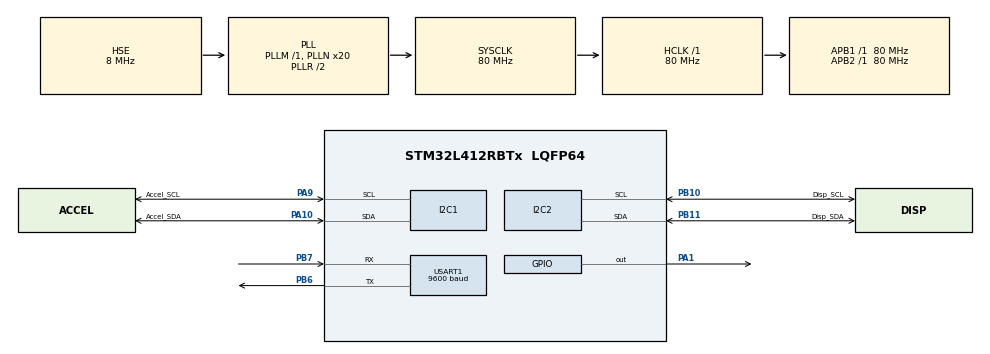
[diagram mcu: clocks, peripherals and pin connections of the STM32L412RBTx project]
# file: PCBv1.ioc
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I2C1.Timing=0x10909CEC
I2C2.Timing=0x10909CEC
Mcu.Family=STM32L4
Mcu.Name=STM32L412RBTx
Mcu.Package=LQFP64
NVIC.PriorityGroup=NVIC_PRIORITYGROUP_4
NVIC.USART1_IRQn=true\:0\:0\:false\:false\:true\:true\:true\:true
PA1.Signal=GPIO_Output
PA10.GPIO_Label=Accel_SDA
PA10.Mode=I2C
PA10.Signal=I2C1_SDA
PA9.GPIO_Label=Accel_SCL
PA9.Mode=I2C
PA9.Signal=I2C1_SCL
PB10.GPIO_Label=Disp_SCL
PB10.Mode=I2C
PB10.Signal=I2C2_SCL
PB11.GPIO_Label=Disp_SDA
PB11.Mode=I2C
PB11.Signal=I2C2_SDA
PB6.Mode=Asynchronous
PB6.Signal=USART1_TX
PB7.Mode=Asynchronous
PB7.Signal=USART1_RX
PH0-OSC_IN\ (PH0).Mode=HSE-External-Oscillator
PH0-OSC_IN\ (PH0).Signal=RCC_OSC_IN
PH1-OSC_OUT\ (PH1).Mode=HSE-External-Oscillator
PH1-OSC_OUT\ (PH1).Signal=RCC_OSC_OUT
ProjectManager.HeapSize=0x200
ProjectManager.StackSize=0x400
ProjectManager.TargetToolchain=STM32CubeIDE
RCC.ADCFreq_Value=80000000
RCC.AHBFreq_Value=80000000
RCC.APB1Freq_Value=80000000
RCC.APB1TimFreq_Value=80000000
RCC.APB2Freq_Value=80000000
RCC.APB2TimFreq_Value=80000000
RCC.CortexFreq_Value=80000000
RCC.HCLKFreq_Value=80000000
RCC.HSE_VALUE=8000000
RCC.HSI48_VALUE=48000000
RCC.HSI_VALUE=16000000
RCC.LSE_VALUE=32768
RCC.MSI_VALUE=4000000
RCC.PLLN=20
RCC.PLLSourceVirtual=RCC_PLLSOURCE_HSE
RCC.SYSCLKFreq_VALUE=80000000
RCC.SYSCLKSource=RCC_SYSCLKSOURCE_PLLCLK
RCC.USBFreq_Value=4000000
RCC.VCOOutputFreq_Value=160000000
USART1.BaudRate=9600
USART1.OverrunDisableParam=ADVFEATURE_OVERRUN_DISABLE
USART1.SwapParam=ADVFEATURE_SWAP_ENABLE
USART1.VirtualMode-Asynchronous=VM_ASYNC
board=custom

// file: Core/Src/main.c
/* USER CODE BEGIN Header */
/**
  ******************************************************************************
  * @file           : main.c
  * @brief          : Main program body
  ******************************************************************************
  * @attention
  *
  * Copyright (c) 2023 STMicroelectronics.
  * All rights reserved.
  *
  * This software is licensed under terms that can be found in the LICENSE file
  * in the root directory of this software component.
  * If no LICENSE file comes with this software, it is provided AS-IS.
  *
  ******************************************************************************
  */
/* USER CODE END Header */
#include "main.h"

/* USER CODE BEGIN Includes */
#include <string.h>
#include <stdio.h>
#include <stdlib.h>
#include "stm32l4xx.h"
#include "GPS.h"
#include "I2C.h"
#include "ssd1306.h"
#include "lis3dh.h"
#include "count_steps.h"
#include "math.h"   //using this for converting the CSV data from float to int
/* USER CODE END Includes */

I2C_HandleTypeDef hi2c1;
I2C_HandleTypeDef hi2c2;

UART_HandleTypeDef huart1;

/* USER CODE BEGIN PV */
// Allocate a buffer for reading data from the sensor.
// Six bytes required to read XYZ data.
uint8_t xyz_buf[6] = { 0 };
// New instance of the lis3dh convenience object.
lis3dh_t lis3dh;

// lis3dh calls return this HAL status type.
HAL_StatusTypeDef status;
/* USER CODE END PV */

void SystemClock_Config(void);
static void MX_GPIO_Init(void);
static void MX_I2C1_Init(void);
static void MX_I2C2_Init(void);
static void MX_USART1_UART_Init(void);

/* USER CODE BEGIN 0 */
UART_HandleTypeDef huart1;
uint8_t nmea;
char nmea_buf[256];
char nmea_gga[256];
uint8_t i = 0;

double cur_lat = 0;
double cur_lon = 0;
double pre_lat = 0;
double pre_lon = 0;
double alt = 0;

void HAL_UART_RxCpltCallback(UART_HandleTypeDef *huart) {
    if (huart == &huart1) {

        nmea_buf[i++] = nmea;

        if (nmea == '\n' || i >= sizeof(nmea_buf) - 1) {
        	HAL_GPIO_TogglePin(GPIOA, GPIO_PIN_1);
        	if(nmea_buf[3]=='G' && nmea_buf[4]=='G' && nmea_buf[5] == 'A')
        	{
        		memcpy(nmea_gga, nmea_buf, 256);
        		cur_lat = get_lat(nmea_gga);
        		cur_lon = get_lon(nmea_gga);
        		alt = get_alt(nmea_gga);

        	}

            memset(nmea_buf, 0, sizeof(nmea_buf));
            i = 0;
        }

        // Start the next reception
        HAL_UART_Receive_IT(&huart1, &nmea, 1);
    }
}
/* USER CODE END 0 */

int main(void)
{

  /* MCU Configuration--------------------------------------------------------*/

  /* Reset of all peripherals, Initializes the Flash interface and the Systick. */
  HAL_Init();

  /* Configure the system clock */
  SystemClock_Config();

  /* Initialize all configured peripherals */
  MX_GPIO_Init();
  MX_I2C1_Init();
  MX_I2C2_Init();
  MX_USART1_UART_Init();
  /* USER CODE BEGIN 2 */
  char buf1[16];
    //char buf2[16];
  /* USER CODE END 2 */
  status = lis3dh_init(&lis3dh, &hi2c1, xyz_buf, 6);

  if (status != HAL_OK) {
          	 //HAL_GPIO_TogglePin(GPIOB, GPIO_PIN_13);
            // Unable to communicate with device!
  }

  char message[64] = "Starting Up";
  //ssd1306_TestAll();
  ssd1306_Init();
  ssd1306_Fill(Black);
  ssd1306_SetCursor(2,0);
  ssd1306_WriteString(message, Font_11x18, White);
  ssd1306_UpdateScreen();

  /* USER CODE END 2 */

  /* Infinite loop */
  /* USER CODE BEGIN WHILE */
            uint16_t  num_steps  = 0;
            float total_distance = 0;
            float new_distance;
            float miles;
            //char buf[20];
            HAL_UART_Receive_IT(&huart1, &nmea, 1);
            while (1)
            {
            	//hold the data from the CSV file in a fifo-like data structure where the accelerometer data looks like
				//[x1,y1,z1,x2,y2,z2...x400,y400,z400]
				int8_t acc[NUM_SAMPLES*3] = {0};
				uint16_t i    = 0;
				float    temp = 0;
				while(i < NUM_SAMPLES*3) //while data array is being filled
				{
					  HAL_Delay(50); //20Hz
					  //HAL_GPIO_TogglePin(GPIOB, GPIO_PIN_13);

					//scaling factor to convert the decimal data to int8 integers. calculated in matlab by taking the absolute value of all the data
					//and then calculating the max of that data. then divide that by 127 to get the scaling factor
					  float scale_factor = 55.3293;

					  if (lis3dh_xyz_available(&lis3dh)) {
							status = lis3dh_get_xyz(&lis3dh);
							float xx = lis3dh.x/ACCEL_DATA_SCALER;
							float yy = lis3dh.y/ACCEL_DATA_SCALER;
							float zz = lis3dh.z/ACCEL_DATA_SCALER;

							temp     = roundf(xx*scale_factor);
							acc[i++] = (int8_t)temp;

							temp     = roundf(yy*scale_factor);
							acc[i++] = (int8_t)temp;

							temp     = roundf(zz*scale_factor);
							acc[i++] = (int8_t)temp;

							//printf("%f, %f, %f\r\n",xx,yy,zz);
							// You now have raw acceleration of gravity in lis3dh->x, y, and z.

						  }
				  }
				  //pass data to step counting algorithm, 4 seconds at a time (which is the WINDOW_LENGTH). put the data into a temporary buffer each loop
					  int8_t   data[NUM_TUPLES*3] = {0};
					  uint8_t  num_segments       = NUM_SAMPLES/(SAMPLING_RATE*WINDOW_LENGTH);
					  uint16_t j                  = 0;

					  for (i = 0; i < num_segments; i++) {
						  for (j = SAMPLING_RATE*WINDOW_LENGTH*i*3; j < SAMPLING_RATE*WINDOW_LENGTH*(i+1)*3; j++) {
							  data[j-SAMPLING_RATE*WINDOW_LENGTH*i*3] = acc[j];
						  }
						  num_steps += count_steps(data);
					  }

					  //printf("num steps: %i\n\r", num_steps);
					  ssd1306_Fill(Black);
					  ssd1306_SetCursor(2,0);
					  ssd1306_WriteString("Steps:", Font_11x18, White);
					  ssd1306_SetCursor(2,15);
					  ssd1306_WriteString(itoa(num_steps,message,10), Font_11x18, White);
					  ssd1306_SetCursor(2,30);
					  ssd1306_WriteString("Distance:", Font_11x18, White);
					  //ssd1306_UpdateScreen();

					  if((pre_lat == 0) && (pre_lon == 0))
					  {
						  ssd1306_SetCursor(2,50);
						  ssd1306_WriteString("Need GPS Lock", Font_7x10, White);
						  ssd1306_UpdateScreen();
					  }
					  else
					  {
						  new_distance = calculateDistance(pre_lat, pre_lon, cur_lat, cur_lon);
						  if (new_distance > MIN_GPS_DISTANCE){
							  total_distance += new_distance;
						  }
						  if (total_distance < 400)
						  {
							  sprintf(buf1,"%0.2f meters",total_distance);
						  }
						  else{
							  miles = total_distance / METERS_TO_MILES;
							  sprintf(buf1,"%0.2f miles",miles);
						  }
						  ssd1306_SetCursor(2,45);
						  ssd1306_WriteString(buf1, Font_11x18, White);
						  ssd1306_UpdateScreen();

					  }
					  pre_lat = cur_lat;
					  pre_lon = cur_lon;

    /* USER CODE END WHILE */

  }
}

void SystemClock_Config(void)
{
  RCC_OscInitTypeDef RCC_OscInitStruct = {0};
  RCC_ClkInitTypeDef RCC_ClkInitStruct = {0};

  /** Configure the main internal regulator output voltage
  */
  if (HAL_PWREx_ControlVoltageScaling(PWR_REGULATOR_VOLTAGE_SCALE1) != HAL_OK)
  {
    Error_Handler();
  }

  /** Initializes the RCC Oscillators according to the specified parameters
  * in the RCC_OscInitTypeDef structure.
  */
  RCC_OscInitStruct.OscillatorType = RCC_OSCILLATORTYPE_HSE;
  RCC_OscInitStruct.HSEState = RCC_HSE_ON;
  RCC_OscInitStruct.PLL.PLLState = RCC_PLL_ON;
  RCC_OscInitStruct.PLL.PLLSource = RCC_PLLSOURCE_HSE;
  RCC_OscInitStruct.PLL.PLLM = 1;
  RCC_OscInitStruct.PLL.PLLN = 20;
  RCC_OscInitStruct.PLL.PLLQ = RCC_PLLQ_DIV2;
  RCC_OscInitStruct.PLL.PLLR = RCC_PLLR_DIV2;
  if (HAL_RCC_OscConfig(&RCC_OscInitStruct) != HAL_OK)
  {
    Error_Handler();
  }

  /** Initializes the CPU, AHB and APB buses clocks
  */
  RCC_ClkInitStruct.ClockType = RCC_CLOCKTYPE_HCLK|RCC_CLOCKTYPE_SYSCLK
                              |RCC_CLOCKTYPE_PCLK1|RCC_CLOCKTYPE_PCLK2;
  RCC_ClkInitStruct.SYSCLKSource = RCC_SYSCLKSOURCE_PLLCLK;
  RCC_ClkInitStruct.AHBCLKDivider = RCC_SYSCLK_DIV1;
  RCC_ClkInitStruct.APB1CLKDivider = RCC_HCLK_DIV1;
  RCC_ClkInitStruct.APB2CLKDivider = RCC_HCLK_DIV1;

  if (HAL_RCC_ClockConfig(&RCC_ClkInitStruct, FLASH_LATENCY_4) != HAL_OK)
  {
    Error_Handler();
  }
}

static void MX_I2C1_Init(void)
{

  hi2c1.Instance = I2C1;
  hi2c1.Init.Timing = 0x10909CEC;
  hi2c1.Init.OwnAddress1 = 0;
  hi2c1.Init.AddressingMode = I2C_ADDRESSINGMODE_7BIT;
  hi2c1.Init.DualAddressMode = I2C_DUALADDRESS_DISABLE;
  hi2c1.Init.OwnAddress2 = 0;
  hi2c1.Init.OwnAddress2Masks = I2C_OA2_NOMASK;
  hi2c1.Init.GeneralCallMode = I2C_GENERALCALL_DISABLE;
  hi2c1.Init.NoStretchMode = I2C_NOSTRETCH_DISABLE;
  if (HAL_I2C_Init(&hi2c1) != HAL_OK)
  {
    Error_Handler();
  }

  /** Configure Analogue filter
  */
  if (HAL_I2CEx_ConfigAnalogFilter(&hi2c1, I2C_ANALOGFILTER_ENABLE) != HAL_OK)
  {
    Error_Handler();
  }

  /** Configure Digital filter
  */
  if (HAL_I2CEx_ConfigDigitalFilter(&hi2c1, 0) != HAL_OK)
  {
    Error_Handler();
  }

}

static void MX_I2C2_Init(void)
{

  hi2c2.Instance = I2C2;
  hi2c2.Init.Timing = 0x10909CEC;
  hi2c2.Init.OwnAddress1 = 0;
  hi2c2.Init.AddressingMode = I2C_ADDRESSINGMODE_7BIT;
  hi2c2.Init.DualAddressMode = I2C_DUALADDRESS_DISABLE;
  hi2c2.Init.OwnAddress2 = 0;
  hi2c2.Init.OwnAddress2Masks = I2C_OA2_NOMASK;
  hi2c2.Init.GeneralCallMode = I2C_GENERALCALL_DISABLE;
  hi2c2.Init.NoStretchMode = I2C_NOSTRETCH_DISABLE;
  if (HAL_I2C_Init(&hi2c2) != HAL_OK)
  {
    Error_Handler();
  }

  /** Configure Analogue filter
  */
  if (HAL_I2CEx_ConfigAnalogFilter(&hi2c2, I2C_ANALOGFILTER_ENABLE) != HAL_OK)
  {
    Error_Handler();
  }

  /** Configure Digital filter
  */
  if (HAL_I2CEx_ConfigDigitalFilter(&hi2c2, 0) != HAL_OK)
  {
    Error_Handler();
  }

}

static void MX_USART1_UART_Init(void)
{

  huart1.Instance = USART1;
  huart1.Init.BaudRate = 9600;
  huart1.Init.WordLength = UART_WORDLENGTH_8B;
  huart1.Init.StopBits = UART_STOPBITS_1;
  huart1.Init.Parity = UART_PARITY_NONE;
  huart1.Init.Mode = UART_MODE_TX_RX;
  huart1.Init.HwFlowCtl = UART_HWCONTROL_NONE;
  huart1.Init.OverSampling = UART_OVERSAMPLING_16;
  huart1.Init.OneBitSampling = UART_ONE_BIT_SAMPLE_DISABLE;
  huart1.AdvancedInit.AdvFeatureInit = UART_ADVFEATURE_SWAP_INIT|UART_ADVFEATURE_RXOVERRUNDISABLE_INIT;
  huart1.AdvancedInit.Swap = UART_ADVFEATURE_SWAP_ENABLE;
  huart1.AdvancedInit.OverrunDisable = UART_ADVFEATURE_OVERRUN_DISABLE;
  if (HAL_UART_Init(&huart1) != HAL_OK)
  {
    Error_Handler();
  }

}

static void MX_GPIO_Init(void)
{
  GPIO_InitTypeDef GPIO_InitStruct = {0};

  /* GPIO Ports Clock Enable */
  __HAL_RCC_GPIOH_CLK_ENABLE();
  __HAL_RCC_GPIOA_CLK_ENABLE();
  __HAL_RCC_GPIOB_CLK_ENABLE();

  /*Configure GPIO pin Output Level */
  HAL_GPIO_WritePin(GPIOA, GPIO_PIN_1, GPIO_PIN_RESET);

  /*Configure GPIO pin : PA1 */
  GPIO_InitStruct.Pin = GPIO_PIN_1;
  GPIO_InitStruct.Mode = GPIO_MODE_OUTPUT_PP;
  GPIO_InitStruct.Pull = GPIO_NOPULL;
  GPIO_InitStruct.Speed = GPIO_SPEED_FREQ_LOW;
  HAL_GPIO_Init(GPIOA, &GPIO_InitStruct);

}

void Error_Handler(void)
{
  __disable_irq();
  while (1)
  {
  }
}
